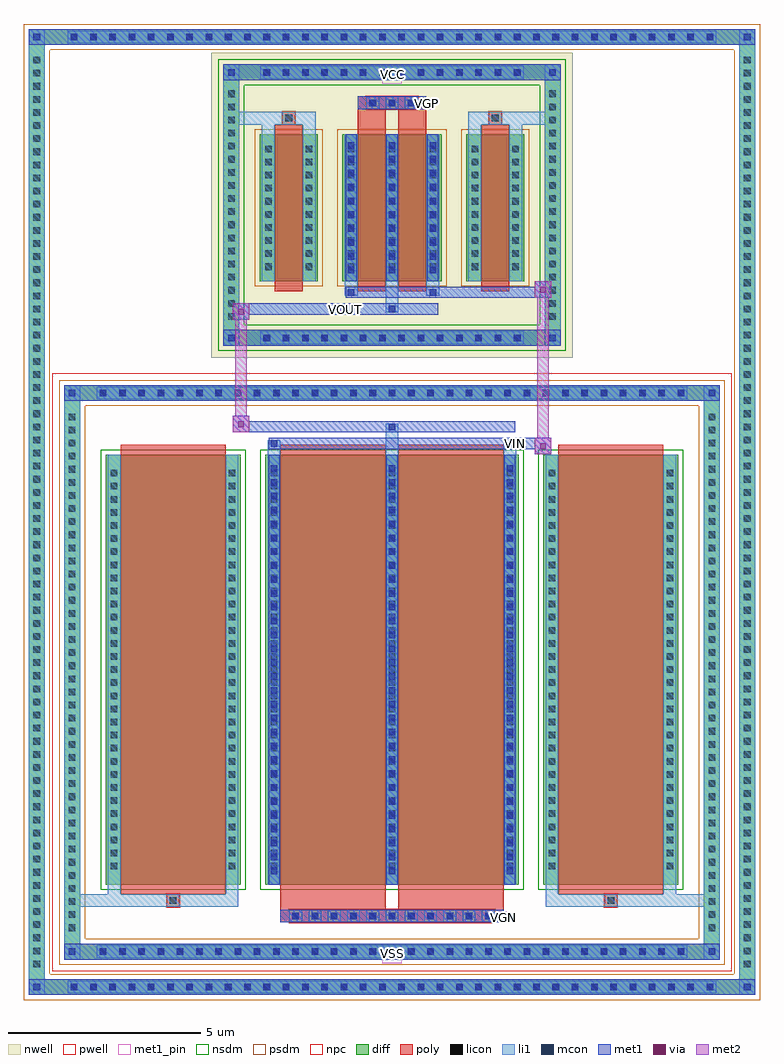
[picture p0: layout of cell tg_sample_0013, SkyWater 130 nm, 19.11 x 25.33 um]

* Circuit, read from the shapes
.subckt tg_sample_0013 VCC VGN VGP VIN VOUT VSS
XM1 VSS VSS VSS VSUBS sky130_fd_pr__nfet_01v8 w=11.16 l=2.73 m=2
XM2 VOUT VGN VIN VSUBS sky130_fd_pr__nfet_01v8 w=11.16 l=2.73 m=2
XM3 VCC VCC VCC n1 sky130_fd_pr__pfet_01v8 w=3.81 l=0.73 m=2
XM4 VOUT VGP VIN n1 sky130_fd_pr__pfet_01v8 w=3.81 l=0.73 m=2
.ends

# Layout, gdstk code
import gdstk
lib = gdstk.Library(unit=1e-6, precision=5e-09)
def R(c, l, rs):  # rectangles x0, y0, x1, y1
    for r in rs: c.add(gdstk.rectangle(r[:2], r[2:], *l))
def A(c, l, x, y, w, h, nx, ny, dx, dy):  # array of equal rectangles
    R(c, l, [(x+i*dx, y+j*dy, x+i*dx+w, y+j*dy+h) for i in range(nx) for j in range(ny)])
def P(c, l, *ps):  # polygons
    for p in ps: c.add(gdstk.Polygon(p, *l))
nwell = (64, 20)
pwell = (64, 44)
diff = (65, 20)
poly = (66, 20)
licon = (66, 44)
li1 = (67, 20)
mcon = (67, 44)
met1_pin = (68, 16)
met1 = (68, 20)
via = (68, 44)
met2 = (69, 20)
nsdm = (93, 44)
psdm = (94, 20)
npc = (95, 20)

tg_sample_0013 = lib.new_cell('tg_sample_0013')
R(tg_sample_0013, nwell, [(-4.685,8.165,4.685,16.085)])
R(tg_sample_0013, pwell, [(-8.815,-7.765,8.815,7.765)])
A(tg_sample_0013, diff, -8.455, -8.375, 0.41, 0.41, 34, 2, 0.5, 24.66)
A(tg_sample_0013, diff, -9.425, -7.775, 0.41, 0.41, 1, 70, 0, 0.34)
A(tg_sample_0013, diff, 9.015, -7.775, 0.41, 0.41, 1, 70, 0, 0.34)
A(tg_sample_0013, diff, -7.705, -7.455, 0.41, 0.41, 31, 2, 0.5, 14.5)
A(tg_sample_0013, diff, -8.505, -6.835, 0.41, 0.41, 1, 40, 0, 0.34)
A(tg_sample_0013, diff, 8.095, -6.835, 0.41, 0.41, 1, 40, 0, 0.34)
A(tg_sample_0013, diff, -3.455, 8.475, 0.41, 0.41, 14, 2, 0.5, 6.89)
A(tg_sample_0013, diff, -4.375, 9.03, 0.41, 0.41, 1, 18, 0, 0.34)
A(tg_sample_0013, diff, 3.965, 9.03, 0.41, 0.41, 1, 18, 0, 0.34)
R(tg_sample_0013, diff, [(-8.455,-8.375,8.455,-7.965), (-9.425,-7.775,-9.015,16.095), (9.015,-7.775,9.425,16.095), (-7.705,-7.455,7.705,-7.045), (-8.505,-6.835,-8.095,6.835), (8.095,-6.835,8.505,6.835), (-7.435,-5.51,-3.925,5.65), (-3.285,-5.51,3.285,5.65), (3.925,-5.51,7.435,5.65), (-7.705,7.045,7.705,7.455), (-3.455,8.475,3.455,8.885), (-4.375,9.03,-3.965,15.22), (3.965,9.03,4.375,15.22), (-3.435,10.15,-1.925,13.96), (-1.285,10.15,1.285,13.96), (1.925,10.15,3.435,13.96), (-3.455,15.365,3.455,15.775), (-8.455,16.285,8.455,16.695)])
P(tg_sample_0013, diff, [(8.505,7.455),(-8.505,7.455),(-8.505,-7.045),(-8.095,-7.045),(-8.095,7.045),(8.095,7.045),(8.095,-7.045),(-8.095,-7.045),(-8.505,-7.045),(-8.505,-7.455),(8.505,-7.455)],
  [(9.425,16.695),(-9.425,16.695),(-9.425,-7.965),(-9.015,-7.965),(-9.015,16.285),(9.015,16.285),(9.015,-7.965),(-9.015,-7.965),(-9.425,-7.965),(-9.425,-8.375),(9.425,-8.375)],
  [(4.375,8.475),(-4.375,8.475),(-4.375,15.365),(-3.965,15.365),(-3.965,8.885),(3.965,8.885),(3.965,15.365),(-3.965,15.365),(-4.375,15.365),(-4.375,15.775),(4.375,15.775)])
A(tg_sample_0013, poly, -2.665, -6.49, 0.33, 0.33, 11, 1, 0.5, 0)
A(tg_sample_0013, poly, -0.665, 14.615, 0.33, 0.33, 3, 1, 0.5, 0)
R(tg_sample_0013, poly, [(-2.895,-6.49,2.895,-6.16), (-2.895,-6.16,-0.165,-5.76), (0.165,-6.16,2.895,-5.76), (-5.845,-6.09,-5.515,-5.76), (-5.845,-6.09,-5.515,-5.76), (5.515,-6.09,5.845,-5.76), (5.515,-6.09,5.845,-5.76), (-7.045,-5.76,-4.315,5.9), (-2.895,-5.76,-0.165,5.9), (0.165,-5.76,2.895,5.9), (4.315,-5.76,7.045,5.9), (-3.045,9.895,-2.315,14.215), (-0.895,9.895,-0.165,14.215), (0.165,9.895,0.895,14.215), (2.315,9.895,3.045,14.215), (-2.845,14.215,-2.515,14.545), (-2.845,14.215,-2.515,14.545), (-0.895,14.215,-0.165,14.615), (0.165,14.215,0.895,14.615), (2.515,14.215,2.845,14.545), (2.515,14.215,2.845,14.545), (-0.895,14.615,0.895,14.945)])
A(tg_sample_0013, licon, -8.335, -8.255, 0.17, 0.17, 34, 2, 0.5, 24.66)
A(tg_sample_0013, licon, -9.305, -7.655, 0.17, 0.17, 1, 70, 0, 0.34)
A(tg_sample_0013, licon, 9.135, -7.655, 0.17, 0.17, 1, 70, 0, 0.34)
A(tg_sample_0013, licon, -7.585, -7.335, 0.17, 0.17, 31, 2, 0.5, 14.5)
A(tg_sample_0013, licon, -8.385, -6.715, 0.17, 0.17, 1, 40, 0, 0.34)
A(tg_sample_0013, licon, 8.215, -6.715, 0.17, 0.17, 1, 40, 0, 0.34)
A(tg_sample_0013, licon, -2.585, -6.41, 0.17, 0.17, 11, 1, 0.5, 0)
A(tg_sample_0013, licon, -7.295, -5.115, 0.17, 0.17, 1, 31, 0, 0.34)
A(tg_sample_0013, licon, -4.235, -5.115, 0.17, 0.17, 1, 31, 0, 0.34)
A(tg_sample_0013, licon, -3.145, -5.115, 0.17, 0.17, 3, 31, 3.06, 0.34)
A(tg_sample_0013, licon, 4.065, -5.115, 0.17, 0.17, 1, 31, 0, 0.34)
A(tg_sample_0013, licon, 7.125, -5.115, 0.17, 0.17, 1, 31, 0, 0.34)
A(tg_sample_0013, licon, -3.335, 8.595, 0.17, 0.17, 14, 2, 0.5, 6.89)
A(tg_sample_0013, licon, -4.255, 9.15, 0.17, 0.17, 1, 18, 0, 0.34)
A(tg_sample_0013, licon, 4.085, 9.15, 0.17, 0.17, 1, 18, 0, 0.34)
A(tg_sample_0013, licon, -3.295, 10.44, 0.17, 0.17, 1, 10, 0, 0.34)
A(tg_sample_0013, licon, -2.235, 10.44, 0.17, 0.17, 1, 10, 0, 0.34)
A(tg_sample_0013, licon, -1.145, 10.44, 0.17, 0.17, 3, 10, 1.06, 0.34)
A(tg_sample_0013, licon, 2.065, 10.44, 0.17, 0.17, 1, 10, 0, 0.34)
A(tg_sample_0013, licon, 3.125, 10.44, 0.17, 0.17, 1, 10, 0, 0.34)
A(tg_sample_0013, licon, -0.585, 14.695, 0.17, 0.17, 3, 1, 0.5, 0)
R(tg_sample_0013, licon, [(-5.765,-6.01,-5.595,-5.84), (5.595,-6.01,5.765,-5.84), (-2.765,14.295,-2.595,14.465), (2.595,14.295,2.765,14.465)])
A(tg_sample_0013, li1, -8.415, -8.335, 0.33, 0.33, 34, 2, 0.5, 24.66)
A(tg_sample_0013, li1, -9.385, -7.735, 0.33, 0.33, 1, 70, 0, 0.34)
A(tg_sample_0013, li1, 9.055, -7.735, 0.33, 0.33, 1, 70, 0, 0.34)
A(tg_sample_0013, li1, -7.665, -7.415, 0.33, 0.33, 31, 2, 0.5, 14.5)
A(tg_sample_0013, li1, -8.465, -6.795, 0.33, 0.33, 1, 40, 0, 0.34)
A(tg_sample_0013, li1, 8.135, -6.795, 0.33, 0.33, 1, 40, 0, 0.34)
A(tg_sample_0013, li1, -2.665, -6.49, 0.33, 0.33, 11, 1, 0.5, 0)
A(tg_sample_0013, li1, -3.225, -5.51, 0.33, 11.16, 3, 1, 3.06, 0)
A(tg_sample_0013, li1, -3.145, -5.235, 0.17, 0.17, 3, 30, 3.06, 0.36)
A(tg_sample_0013, li1, -3.145, -5.235, 0.17, 10.61, 3, 1, 3.06, 0)
A(tg_sample_0013, li1, -7.375, -5.195, 0.33, 0.33, 1, 31, 0, 0.34)
A(tg_sample_0013, li1, -4.315, -5.195, 0.33, 0.33, 1, 31, 0, 0.34)
A(tg_sample_0013, li1, -3.225, -5.195, 0.33, 0.33, 3, 31, 3.06, 0.34)
A(tg_sample_0013, li1, 3.985, -5.195, 0.33, 0.33, 1, 31, 0, 0.34)
A(tg_sample_0013, li1, 7.045, -5.195, 0.33, 0.33, 1, 31, 0, 0.34)
A(tg_sample_0013, li1, -3.415, 8.515, 0.33, 0.33, 14, 2, 0.5, 6.89)
A(tg_sample_0013, li1, -4.335, 9.07, 0.33, 0.33, 1, 18, 0, 0.34)
A(tg_sample_0013, li1, 4.005, 9.07, 0.33, 0.33, 1, 18, 0, 0.34)
A(tg_sample_0013, li1, -1.225, 10.15, 0.33, 3.81, 3, 1, 1.06, 0)
A(tg_sample_0013, li1, -1.145, 10.35, 0.17, 0.17, 3, 10, 1.06, 0.36)
A(tg_sample_0013, li1, -1.145, 10.35, 0.17, 3.41, 3, 1, 1.06, 0)
A(tg_sample_0013, li1, -3.375, 10.36, 0.33, 0.33, 1, 10, 0, 0.34)
A(tg_sample_0013, li1, -2.315, 10.36, 0.33, 0.33, 1, 10, 0, 0.34)
A(tg_sample_0013, li1, -1.225, 10.36, 0.33, 0.33, 3, 10, 1.06, 0.34)
A(tg_sample_0013, li1, 1.985, 10.36, 0.33, 0.33, 1, 10, 0, 0.34)
A(tg_sample_0013, li1, 3.045, 10.36, 0.33, 0.33, 1, 10, 0, 0.34)
A(tg_sample_0013, li1, -0.665, 14.615, 0.33, 0.33, 3, 1, 0.5, 0)
R(tg_sample_0013, li1, [(-9.425,-8.375,-9.015,-7.965), (9.015,-8.375,9.425,-7.965), (-8.415,-8.335,8.415,-8.005), (-9.305,-8.255,-9.135,-8.085), (-9.305,-8.255,-9.135,-8.085), (9.135,-8.255,9.305,-8.085), (9.135,-8.255,9.305,-8.085), (-9.425,-7.965,-9.015,16.285), (9.015,-7.965,9.425,16.285), (-8.505,-7.455,-8.095,-7.045), (8.095,-7.455,8.505,-7.045), (-7.665,-7.415,7.665,-7.085), (-8.385,-7.335,-8.215,-7.165), (-8.385,-7.335,-8.215,-7.165), (8.215,-7.335,8.385,-7.165), (8.215,-7.335,8.385,-7.165), (-8.505,-7.045,-8.095,7.045), (8.095,-7.045,8.505,7.045), (-8.505,-6.09,-5.845,-5.76), (-7.375,-6.09,-5.845,-5.76), (-7.375,-6.09,-7.045,-5.51), (-5.845,-6.09,-5.515,-5.76), (-5.515,-6.09,-3.985,-5.76), (-4.315,-6.09,-3.985,-5.51), (3.985,-6.09,5.515,-5.76), (3.985,-6.09,4.315,-5.51), (5.515,-6.09,5.845,-5.76), (5.515,-6.09,8.505,-5.76), (5.845,-6.09,7.375,-5.76), (7.045,-6.09,7.375,-5.51), (-7.375,-5.51,-7.045,5.65), (-4.315,-5.51,-3.985,5.65), (3.985,-5.51,4.315,5.65), (7.045,-5.51,7.375,5.65), (-3.225,5.65,-2.895,6.025), (-0.165,5.65,0.165,6.455), (2.895,5.65,3.225,6.025), (-3.145,5.855,-2.975,6.025), (2.975,5.855,3.145,6.025), (-0.085,6.285,0.085,6.455), (-8.505,7.045,-8.095,7.455), (8.095,7.045,8.505,7.455), (-7.665,7.085,7.665,7.415), (-8.385,7.165,-8.215,7.335), (-8.385,7.165,-8.215,7.335), (8.215,7.165,8.385,7.335), (8.215,7.165,8.385,7.335), (-4.375,8.475,-3.965,8.885), (3.965,8.475,4.375,8.885), (-3.415,8.515,3.415,8.845), (-4.255,8.595,-4.085,8.765), (-4.255,8.595,-4.085,8.765), (4.085,8.595,4.255,8.765), (4.085,8.595,4.255,8.765), (-4.375,8.885,-3.965,15.365), (3.965,8.885,4.375,15.365), (-0.165,9.345,0.165,10.15), (-0.085,9.345,0.085,9.515), (-1.225,9.775,-0.895,10.15), (-1.145,9.775,-0.975,9.945), (0.895,9.775,1.225,10.15), (0.975,9.775,1.145,9.945), (-3.375,10.15,-3.045,13.96), (-2.315,10.15,-1.985,13.96), (1.985,10.15,2.315,13.96), (3.045,10.15,3.375,13.96), (-3.375,13.96,-3.045,14.545), (-2.315,13.96,-1.985,14.545), (1.985,13.96,2.315,14.545), (3.045,13.96,3.375,14.545), (-4.375,14.215,-2.845,14.545), (-3.375,14.215,-2.845,14.545), (-2.845,14.215,-2.515,14.545), (-2.515,14.215,-1.985,14.545), (1.985,14.215,2.515,14.545), (2.515,14.215,2.845,14.545), (2.515,14.215,4.375,14.545), (2.845,14.215,3.375,14.545), (-4.375,15.365,-3.965,15.775), (3.965,15.365,4.375,15.775), (-3.415,15.405,3.415,15.735), (-4.255,15.485,-4.085,15.655), (-4.255,15.485,-4.085,15.655), (4.085,15.485,4.255,15.655), (4.085,15.485,4.255,15.655), (-9.425,16.285,-9.015,16.695), (9.015,16.285,9.425,16.695), (-8.415,16.325,8.415,16.655), (-9.305,16.405,-9.135,16.575), (-9.305,16.405,-9.135,16.575), (9.135,16.405,9.305,16.575), (9.135,16.405,9.305,16.575)])
A(tg_sample_0013, mcon, -8.335, -8.255, 0.17, 0.17, 34, 2, 0.5, 24.66)
A(tg_sample_0013, mcon, -7.585, -7.335, 0.17, 0.17, 31, 2, 0.5, 14.5)
A(tg_sample_0013, mcon, -2.585, -6.41, 0.17, 0.17, 11, 1, 0.5, 0)
A(tg_sample_0013, mcon, -3.145, -5.235, 0.17, 0.17, 3, 30, 3.06, 0.36)
A(tg_sample_0013, mcon, -3.335, 8.595, 0.17, 0.17, 14, 2, 0.5, 6.89)
A(tg_sample_0013, mcon, -1.145, 10.35, 0.17, 0.17, 3, 10, 1.06, 0.36)
A(tg_sample_0013, mcon, -0.585, 14.695, 0.17, 0.17, 3, 1, 0.5, 0)
R(tg_sample_0013, mcon, [(-9.305,-8.255,-9.135,-8.085), (9.135,-8.255,9.305,-8.085), (-8.385,-7.335,-8.215,-7.165), (8.215,-7.335,8.385,-7.165), (-3.145,5.855,-2.975,6.025), (2.975,5.855,3.145,6.025), (-0.085,6.285,0.085,6.455), (-8.385,7.165,-8.215,7.335), (8.215,7.165,8.385,7.335), (-4.255,8.595,-4.085,8.765), (4.085,8.595,4.255,8.765), (-0.085,9.345,0.085,9.515), (-1.145,9.775,-0.975,9.945), (0.975,9.775,1.145,9.945), (-4.255,15.485,-4.085,15.655), (4.085,15.485,4.255,15.655), (-9.305,16.405,-9.135,16.575), (9.135,16.405,9.305,16.575)])
R(tg_sample_0013, met1_pin, [(-0.25,-7.545,0.25,-7.045), (2.76,-6.49,3.03,-6.22), (3.07,5.795,3.34,6.065), (-1.34,9.285,-1.07,9.555), (0.76,14.615,1.03,14.885), (-0.25,15.275,0.25,15.775)])
A(tg_sample_0013, met1, -8.395, -8.315, 0.29, 0.29, 34, 2, 0.5, 24.66)
A(tg_sample_0013, met1, -7.645, -7.395, 0.29, 0.29, 31, 2, 0.5, 14.5)
A(tg_sample_0013, met1, -2.645, -6.47, 0.29, 0.29, 11, 1, 0.5, 0)
A(tg_sample_0013, met1, -3.205, -5.51, 0.29, 11.16, 3, 1, 3.06, 0)
A(tg_sample_0013, met1, -3.205, -5.295, 0.29, 0.29, 3, 30, 3.06, 0.36)
A(tg_sample_0013, met1, -3.395, 8.535, 0.29, 0.29, 14, 2, 0.5, 6.89)
A(tg_sample_0013, met1, -1.205, 10.15, 0.29, 3.81, 3, 1, 1.06, 0)
A(tg_sample_0013, met1, -1.205, 10.29, 0.29, 0.29, 3, 10, 1.06, 0.36)
A(tg_sample_0013, met1, -0.645, 14.635, 0.29, 0.29, 3, 1, 0.5, 0)
R(tg_sample_0013, met1, [(-9.425,-8.375,-9.015,-7.965), (-9.425,-8.375,-9.015,-7.965), (-9.015,-8.375,9.015,-7.965), (9.015,-8.375,9.425,-7.965), (9.015,-8.375,9.425,-7.965), (-9.365,-8.315,-9.075,-8.025), (9.075,-8.315,9.365,-8.025), (-8.505,-7.455,-8.095,-7.045), (-8.505,-7.455,-8.095,-7.045), (-8.095,-7.455,8.095,-7.045), (8.095,-7.455,8.505,-7.045), (8.095,-7.455,8.505,-7.045), (-8.445,-7.395,-8.155,-7.105), (8.155,-7.395,8.445,-7.105), (-2.895,-6.49,2.895,-6.16), (3.705,5.655,4.135,6.085), (-3.205,5.795,-2.915,6.085), (-3.205,5.795,3.205,6.085), (2.915,5.795,3.205,6.085), (3.205,5.795,4.135,6.085), (-4.135,6.225,-3.205,6.515), (-4.135,6.225,-3.705,6.655), (-3.205,6.225,3.205,6.515), (-0.145,6.225,0.145,6.515), (-8.505,7.045,-8.095,7.455), (-8.505,7.045,-8.095,7.455), (-8.095,7.045,8.095,7.455), (8.095,7.045,8.505,7.455), (8.095,7.045,8.505,7.455), (-8.445,7.105,-8.155,7.395), (8.155,7.105,8.445,7.395), (-4.375,8.475,-3.965,8.885), (-4.375,8.475,-3.965,8.885), (-3.965,8.475,3.965,8.885), (3.965,8.475,4.375,8.885), (3.965,8.475,4.375,8.885), (-4.315,8.535,-4.025,8.825), (4.025,8.535,4.315,8.825), (-4.135,9.145,-3.705,9.575), (-4.135,9.285,-1.205,9.575), (-1.205,9.285,1.205,9.575), (-0.145,9.285,0.145,9.575), (-1.205,9.715,-0.915,10.005), (-1.205,9.715,1.205,10.005), (0.915,9.715,1.205,10.005), (1.205,9.715,4.135,10.005), (3.705,9.715,4.135,10.145), (-0.895,14.615,0.895,14.945), (-4.375,15.365,-3.965,15.775), (-4.375,15.365,-3.965,15.775), (-3.965,15.365,3.965,15.775), (3.965,15.365,4.375,15.775), (3.965,15.365,4.375,15.775), (-4.315,15.425,-4.025,15.715), (4.025,15.425,4.315,15.715), (-9.425,16.285,-9.015,16.695), (-9.425,16.285,-9.015,16.695), (-9.015,16.285,9.015,16.695), (9.015,16.285,9.425,16.695), (9.015,16.285,9.425,16.695), (-9.365,16.345,-9.075,16.635), (9.075,16.345,9.365,16.635)])
R(tg_sample_0013, via, [(3.845,5.795,3.995,5.945), (-3.995,6.365,-3.845,6.515), (-3.995,9.285,-3.845,9.435), (3.845,9.855,3.995,10.005)])
R(tg_sample_0013, met2, [(3.705,5.655,4.135,6.085), (3.775,5.655,4.065,10.145), (4.065,5.655,4.135,6.085), (3.755,5.705,4.085,6.035), (-4.135,6.225,-3.705,6.655), (-4.065,6.225,-3.775,9.575), (-3.775,6.225,-3.705,6.655), (-4.085,6.275,-3.755,6.605), (-4.135,9.145,-3.705,9.575), (-3.775,9.145,-3.705,9.575), (-4.085,9.195,-3.755,9.525), (3.705,9.715,4.135,10.145), (4.065,9.715,4.135,10.145), (3.755,9.765,4.085,10.095)])
R(tg_sample_0013, nsdm, [(-7.565,-5.64,-3.795,5.78), (-3.415,-5.64,3.415,5.78), (3.795,-5.64,7.565,5.78)])
P(tg_sample_0013, nsdm, [(4.505,8.345),(-4.505,8.345),(-4.505,15.235),(-3.835,15.235),(-3.835,9.015),(3.835,9.015),(3.835,15.235),(-3.835,15.235),(-4.505,15.235),(-4.505,15.905),(4.505,15.905)])
R(tg_sample_0013, psdm, [(-3.565,10.02,-1.795,14.09), (-1.415,10.02,1.415,14.09), (1.795,10.02,3.565,14.09)])
P(tg_sample_0013, psdm, [(8.635,7.585),(-8.635,7.585),(-8.635,-6.915),(-7.965,-6.915),(-7.965,6.915),(7.965,6.915),(7.965,-6.915),(-7.965,-6.915),(-8.635,-6.915),(-8.635,-7.585),(8.635,-7.585)],
  [(9.555,16.825),(-9.555,16.825),(-9.555,-7.835),(-8.885,-7.835),(-8.885,16.155),(8.885,16.155),(8.885,-7.835),(-8.885,-7.835),(-9.555,-7.835),(-9.555,-8.505),(9.555,-8.505)])
A(tg_sample_0013, npc, -2.685, -6.51, 0.37, 0.37, 11, 1, 0.5, 0)
A(tg_sample_0013, npc, -0.685, 14.595, 0.37, 0.37, 3, 1, 0.5, 0)
R(tg_sample_0013, npc, [(-2.685,-6.51,-1.815,-6.14), (-2.685,-6.51,-1.815,-6.14), (-2.185,-6.51,-1.315,-6.14), (-2.185,-6.51,-1.315,-6.14), (-1.685,-6.51,-0.815,-6.14), (-1.685,-6.51,-0.815,-6.14), (-1.185,-6.51,-0.315,-6.14), (-1.185,-6.51,-0.315,-6.14), (-0.685,-6.51,0.185,-6.14), (-0.685,-6.51,0.185,-6.14), (-0.185,-6.51,0.685,-6.14), (-0.185,-6.51,0.685,-6.14), (0.315,-6.51,1.185,-6.14), (0.315,-6.51,1.185,-6.14), (0.815,-6.51,1.685,-6.14), (0.815,-6.51,1.685,-6.14), (1.315,-6.51,2.185,-6.14), (1.315,-6.51,2.185,-6.14), (1.815,-6.51,2.685,-6.14), (1.815,-6.51,2.685,-6.14), (-5.865,-6.11,-5.495,-5.74), (5.495,-6.11,5.865,-5.74), (-2.865,14.195,-2.495,14.565), (2.495,14.195,2.865,14.565), (-0.685,14.595,0.185,14.965), (-0.685,14.595,0.185,14.965), (-0.185,14.595,0.685,14.965), (-0.185,14.595,0.685,14.965)])
tg_sample_0013.add(gdstk.Label('VIN', (3.205,5.93), layer=68, texttype=5))
tg_sample_0013.add(gdstk.Label('VGN', (2.895,-6.355), layer=68, texttype=5))
tg_sample_0013.add(gdstk.Label('VGP', (0.895,14.75), layer=68, texttype=5))
tg_sample_0013.add(gdstk.Label('VSS', (0,-7.295), layer=68, texttype=5))
tg_sample_0013.add(gdstk.Label('VCC', (0,15.525), layer=68, texttype=5))
tg_sample_0013.add(gdstk.Label('VOUT', (-1.205,9.42), layer=68, texttype=5))

lib.write_gds('tg_sample_0013.gds')
